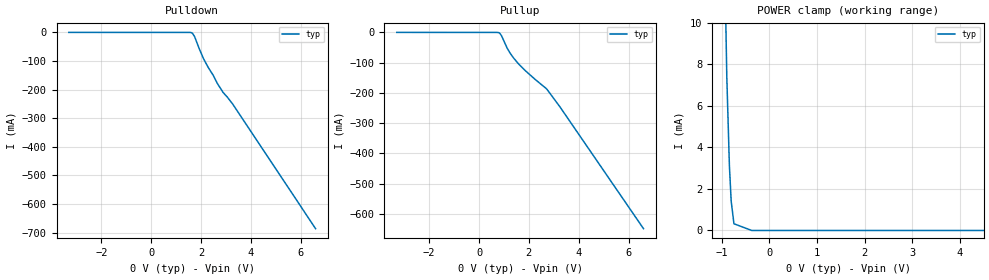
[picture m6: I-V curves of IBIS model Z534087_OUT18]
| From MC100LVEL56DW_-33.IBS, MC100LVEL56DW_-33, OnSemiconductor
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| (C) COPYRIGHT 1993-2000
| MENTOR GRAPHICS CORPORATION
| ICX STANDARD LIBRARY, ICX PROJECT MODELING,
| ICX CUSTOM MODELING, ICX VENDOR MODEL
| ALL RIGHTS RESERVED.
| THE FOLLOWING ARE TRADEMARKS OR SERVICE MARKS OF
| MENTOR GRAPHICS CORPORATION:ICX (R), ICX STANDARD
| LIBRARY(R), ICX PROJECT MODELING(R), ICX CUSTOM
| MODELING(R), qualityIBIS(TM), MODELVIEWER(TM),
| AND MODELEDITOR(TM)
| ALL COPIES OF SOFTWARE, INCLUDING BUT NOT LIMITED TO
| ANY MODIFICATIONS, ENHANCEMENTS OR DERIVATIVE WORKS,
| MUST CONTAIN ALL MENTOR GRAPHICS CORPORATION'S
| NOTICES AND LEGENDS, INCLUDING THOSE EMBEDDED IN
| SOFTWARE AND THOSE AFFIXED TO SOFTWARE MEDIUM
| AND CONTAINER, AS RECEIVED FROM MENTOR GRAPHICS
| CORPORATION.
| Model Application Version 1.89 2/18/99.
[Model] Z534087_OUT18
Model_type Output_ECL
Vref=-2.000V
Rref=50.00ohms
Cref=0.000F
Vmeas=-1.350V
C_comp 2.000pF NA NA
| variable typ   min   max
[Voltage Range] -3.300V NA NA
[POWER Clamp Reference] 0.000V NA NA
[Pullup Reference] 0.000V NA NA
[Pulldown Reference] 0.000V NA NA
[GND Clamp Reference] -3.300V NA NA
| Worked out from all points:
|   POWER clamp passes 1 mA (typ) near -0.78 V on its own axis
[GND Clamp]
-3.3V     0A         NA         NA
6.6V      0A         NA         NA
[Pulldown]
-3.3V     19.58uA    NA         NA
1.543V    -31.43uA   NA         NA
1.661V    -3.073mA   NA         NA
1.747V    -15.13mA   NA         NA
1.924V    -55.46mA   NA         NA
2.106V    -92.45mA   NA         NA
2.296V    -123mA     NA         NA
2.493V    -150.1mA   NA         NA
2.66V     -178.7mA   NA         NA
2.891V    -210.1mA   NA         NA
3.271V    -250.1mA   NA         NA
6.6V      -686mA     NA         NA
[Pullup]
-3.3V     56.97uA    NA         NA
698.4mV   -20.86uA   NA         NA
837.6mV   -3.027mA   NA         NA
907mV     -11.63mA   NA         NA
1.128V    -51.91mA   NA         NA
1.393V    -85.34mA   NA         NA
1.852V    -126.1mA   NA         NA
2.679V    -184.3mA   NA         NA
3.237V    -245.1mA   NA         NA
6.6V      -649.2mA   NA         NA
[POWER Clamp]
-3.3V     597.4mA    NA         NA
-1.005V   21.29mA    NA         NA
-896.8mV  7.41mA     NA         NA
-842.1mV  3.123mA    NA         NA
-804.7mV  1.417mA    NA         NA
-746.8mV  324.1uA    NA         NA
-373.4mV  0A         NA         NA
6.6V      0A         NA         NA
[Ramp]
| variable typ min max
dV/dt_r 470.9m/520.3p NA NA
dV/dt_f 470.9m/531.7p NA NA
R_load = 50.0Ohms
